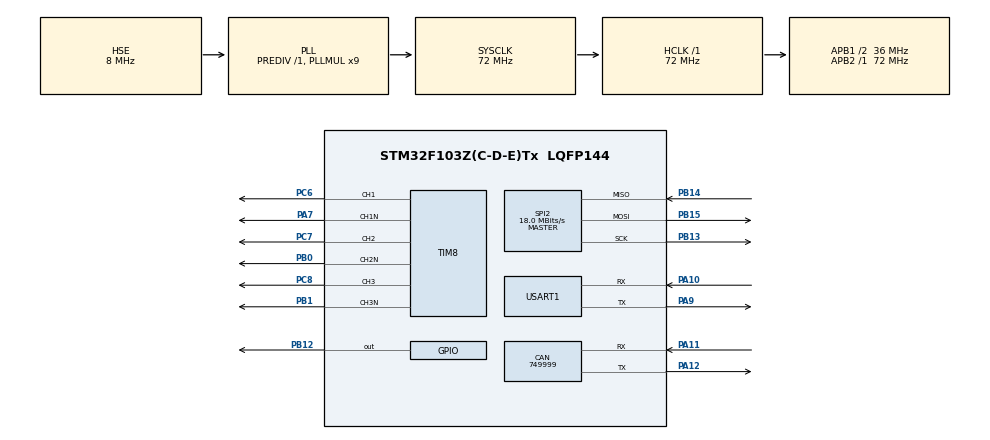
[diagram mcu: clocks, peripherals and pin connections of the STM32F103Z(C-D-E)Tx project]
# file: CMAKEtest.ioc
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CAN.CalculateBaudRate=749999
CAN.CalculateTimeBit=1333
CAN.CalculateTimeQuantum=444.44444444444446
Dma.Request0=USART1_RX
Dma.Request1=USART1_TX
Dma.USART1_RX.0.Direction=DMA_PERIPH_TO_MEMORY
Dma.USART1_RX.0.Instance=DMA1_Channel5
Dma.USART1_RX.0.MemDataAlignment=DMA_MDATAALIGN_BYTE
Dma.USART1_RX.0.MemInc=DMA_MINC_ENABLE
Dma.USART1_RX.0.Mode=DMA_NORMAL
Dma.USART1_RX.0.PeriphDataAlignment=DMA_PDATAALIGN_BYTE
Dma.USART1_RX.0.PeriphInc=DMA_PINC_DISABLE
Dma.USART1_RX.0.Priority=DMA_PRIORITY_LOW
Dma.USART1_TX.1.Direction=DMA_MEMORY_TO_PERIPH
Dma.USART1_TX.1.Instance=DMA1_Channel4
Dma.USART1_TX.1.MemDataAlignment=DMA_MDATAALIGN_BYTE
Dma.USART1_TX.1.MemInc=DMA_MINC_ENABLE
Dma.USART1_TX.1.Mode=DMA_NORMAL
Dma.USART1_TX.1.PeriphDataAlignment=DMA_PDATAALIGN_BYTE
Dma.USART1_TX.1.PeriphInc=DMA_PINC_DISABLE
Dma.USART1_TX.1.Priority=DMA_PRIORITY_LOW
FREERTOS.Tasks01=defaultTask,0,128,StartDefaultTask,Default,NULL,Dynamic,NULL,NULL
Mcu.Family=STM32F1
Mcu.Name=STM32F103Z(C-D-E)Tx
Mcu.Package=LQFP144
NVIC.DMA1_Channel4_IRQn=true\:5\:0\:false\:false\:true\:true\:false\:true\:true
NVIC.DMA1_Channel5_IRQn=true\:5\:0\:false\:false\:true\:true\:false\:true\:true
NVIC.PriorityGroup=NVIC_PRIORITYGROUP_4
NVIC.USART1_IRQn=true\:5\:0\:false\:false\:true\:true\:true\:true\:true
OSC_IN.Mode=HSE-External-Oscillator
OSC_IN.Signal=RCC_OSC_IN
OSC_OUT.Mode=HSE-External-Oscillator
OSC_OUT.Signal=RCC_OSC_OUT
PA10.Mode=Asynchronous
PA10.Signal=USART1_RX
PA11.Mode=CAN_Activate
PA11.Signal=CAN_RX
PA12.Mode=CAN_Activate
PA12.Signal=CAN_TX
PA7.Mode=PWM Generation1 CH1 CH1N
PA7.Signal=TIM8_CH1N
PA9.Mode=Asynchronous
PA9.Signal=USART1_TX
PB0.Mode=PWM Generation2 CH2 CH2N
PB0.Signal=TIM8_CH2N
PB1.Mode=PWM Generation3 CH3 CH3N
PB1.Signal=TIM8_CH3N
PB12.Signal=GPIO_Output
PB13.Mode=Full_Duplex_Master
PB13.Signal=SPI2_SCK
PB14.Mode=Full_Duplex_Master
PB14.Signal=SPI2_MISO
PB15.Mode=Full_Duplex_Master
PB15.Signal=SPI2_MOSI
PC6.Signal=S_TIM8_CH1
PC7.Signal=S_TIM8_CH2
PC8.Signal=S_TIM8_CH3
ProjectManager.HeapSize=0x200
ProjectManager.StackSize=0x400
ProjectManager.TargetToolchain=CMake
RCC.AHBFreq_Value=72000000
RCC.APB1CLKDivider=RCC_HCLK_DIV2
RCC.APB1Freq_Value=36000000
RCC.APB1TimFreq_Value=72000000
RCC.APB2Freq_Value=72000000
RCC.APB2TimFreq_Value=72000000
RCC.HCLKFreq_Value=72000000
RCC.PLLMUL=RCC_PLL_MUL9
RCC.PLLSourceVirtual=RCC_PLLSOURCE_HSE
RCC.SYSCLKFreq_VALUE=72000000
RCC.SYSCLKSource=RCC_SYSCLKSOURCE_PLLCLK
RCC.USBFreq_Value=72000000
SH.S_TIM8_CH1.0=TIM8_CH1,PWM Generation1 CH1 CH1N
SH.S_TIM8_CH2.0=TIM8_CH2,PWM Generation2 CH2 CH2N
SH.S_TIM8_CH3.0=TIM8_CH3,PWM Generation3 CH3 CH3N
SPI2.CLKPhase=SPI_PHASE_2EDGE
SPI2.CLKPolarity=SPI_POLARITY_HIGH
SPI2.CalculateBaudRate=18.0 MBits/s
SPI2.Direction=SPI_DIRECTION_2LINES
SPI2.Mode=SPI_MODE_MASTER
SPI2.VirtualType=VM_MASTER
TIM8.Channel-PWM\ Generation1\ CH1\ CH1N=TIM_CHANNEL_1
TIM8.Channel-PWM\ Generation2\ CH2\ CH2N=TIM_CHANNEL_2
TIM8.Channel-PWM\ Generation3\ CH3\ CH3N=TIM_CHANNEL_3
USART1.VirtualMode=VM_ASYNC
VP_FREERTOS_VS_CMSIS_V1.Mode=CMSIS_V1
VP_SYS_VS_ND.Mode=No_Debug
VP_TIM8_VS_ClockSourceINT.Mode=Internal
board=custom

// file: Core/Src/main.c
/* USER CODE BEGIN Header */
/**
  ******************************************************************************
  * @file           : main.c
  * @brief          : 主程序体
  ******************************************************************************
  * @attention
  *
  * Copyright (c) 2026 STMicroelectronics.
  * All rights reserved.
  *
  * This software is licensed under terms that can be found in the LICENSE file
  * in the root directory of this software component.
  * If no LICENSE file comes with this software, it is provided AS-IS.
  *
  ******************************************************************************
  */
/* USER CODE END Header */
#include "main.h"
#include "cmsis_os.h"

/* USER CODE BEGIN Includes */
#include "at_server.h"
#include "at_server_port.h"
#include "foc_openloop.h"
#include "foc_port.h"

/* USER CODE END Includes */

/* USER CODE BEGIN PD */
/* 72 MHz 定时器时钟下，3599 对应约 20 kHz PWM 频率。 */
#define FOC_PWM_PERIOD_TICKS      3599U
/* 72 个计数约为 1 us，用作首版互补输出死区时间。 */
#define FOC_PWM_DEADTIME_TICKS    72U

/* USER CODE END PD */

CAN_HandleTypeDef hcan;

SPI_HandleTypeDef hspi2;

TIM_HandleTypeDef htim8;

UART_HandleTypeDef huart1;
DMA_HandleTypeDef hdma_usart1_rx;
DMA_HandleTypeDef hdma_usart1_tx;

osThreadId defaultTaskHandle;
osThreadId focOpenLoopTaskHandle;
/* USER CODE BEGIN PV */
static FOC_Port_Config g_foc_port_config = {
    .timer = &htim8,
    .channel_u = TIM_CHANNEL_1,
    .channel_v = TIM_CHANNEL_2,
    .channel_w = TIM_CHANNEL_3,
};

/* USER CODE END PV */

void SystemClock_Config(void);
static void MX_GPIO_Init(void);
static void MX_DMA_Init(void);
static void MX_SPI2_Init(void);
static void MX_USART1_UART_Init(void);
static void MX_CAN_Init(void);
static void MX_TIM8_Init(void);
void StartDefaultTask(void const * argument);

int main(void)
{

  /* MCU Configuration--------------------------------------------------------*/

  /* Reset of all peripherals, Initializes the Flash interface and the Systick. */
  HAL_Init();

  /* Configure the system clock */
  SystemClock_Config();

  /* Initialize all configured peripherals */
  MX_GPIO_Init();
  MX_DMA_Init();
  MX_SPI2_Init();
  MX_USART1_UART_Init();
  MX_CAN_Init();
  MX_TIM8_Init();
  /* USER CODE BEGIN 2 */
  /* 上电只初始化 FOC 端口层与开环控制层，不自动启动 PWM 输出。 */
  if (FOC_Port_Init(&g_foc_port_config) != APP_STATUS_OK)
  {
    Error_Handler();
  }
  if (FOC_OpenLoop_Init() != APP_STATUS_OK)
  {
    Error_Handler();
  }

  if (AT_Server_Port_Init(&huart1) != APP_STATUS_OK)
  {
    Error_Handler();
  }
  if (AT_Server_Init(AT_Server_Port_GetConfig()) != APP_STATUS_OK)
  {
    Error_Handler();
  }

  /* USER CODE END 2 */

  /* USER CODE BEGIN RTOS_MUTEX */
  /* 可在此添加互斥量等 */
  /* USER CODE END RTOS_MUTEX */

  /* USER CODE BEGIN RTOS_SEMAPHORES */
  /* 可在此添加信号量等 */
  /* USER CODE END RTOS_SEMAPHORES */

  /* USER CODE BEGIN RTOS_TIMERS */
  /* 可在此启动或添加定时器等 */
  /* USER CODE END RTOS_TIMERS */

  /* USER CODE BEGIN RTOS_QUEUES */
  /* 可在此添加队列等 */
  /* USER CODE END RTOS_QUEUES */

  /* Create the thread(s) */
  /* definition and creation of defaultTask */
  osThreadDef(defaultTask, StartDefaultTask, osPriorityNormal, 0, 128);
  defaultTaskHandle = osThreadCreate(osThread(defaultTask), NULL);
  osThreadDef(focOpenLoopTask, FOC_OpenLoop_Task, osPriorityAboveNormal, 0, 256);
  focOpenLoopTaskHandle = osThreadCreate(osThread(focOpenLoopTask), NULL);
  if (focOpenLoopTaskHandle == NULL)
  {
    Error_Handler();
  }

  /* USER CODE BEGIN RTOS_THREADS */
  /* 可在此添加其他线程等 */
  /* USER CODE END RTOS_THREADS */

  /* Start scheduler */
  osKernelStart();

  /* We should never get here as control is now taken by the scheduler */

  /* Infinite loop */
  while (1)
  {

  }
}

void SystemClock_Config(void)
{
  RCC_OscInitTypeDef RCC_OscInitStruct = {0};
  RCC_ClkInitTypeDef RCC_ClkInitStruct = {0};

  /** Initializes the RCC Oscillators according to the specified parameters
  * in the RCC_OscInitTypeDef structure.
  */
  RCC_OscInitStruct.OscillatorType = RCC_OSCILLATORTYPE_HSE;
  RCC_OscInitStruct.HSEState = RCC_HSE_ON;
  RCC_OscInitStruct.HSEPredivValue = RCC_HSE_PREDIV_DIV1;
  RCC_OscInitStruct.HSIState = RCC_HSI_ON;
  RCC_OscInitStruct.PLL.PLLState = RCC_PLL_ON;
  RCC_OscInitStruct.PLL.PLLSource = RCC_PLLSOURCE_HSE;
  RCC_OscInitStruct.PLL.PLLMUL = RCC_PLL_MUL9;
  if (HAL_RCC_OscConfig(&RCC_OscInitStruct) != HAL_OK)
  {
    Error_Handler();
  }

  /** Initializes the CPU, AHB and APB buses clocks
  */
  RCC_ClkInitStruct.ClockType = RCC_CLOCKTYPE_HCLK|RCC_CLOCKTYPE_SYSCLK
                              |RCC_CLOCKTYPE_PCLK1|RCC_CLOCKTYPE_PCLK2;
  RCC_ClkInitStruct.SYSCLKSource = RCC_SYSCLKSOURCE_PLLCLK;
  RCC_ClkInitStruct.AHBCLKDivider = RCC_SYSCLK_DIV1;
  RCC_ClkInitStruct.APB1CLKDivider = RCC_HCLK_DIV2;
  RCC_ClkInitStruct.APB2CLKDivider = RCC_HCLK_DIV1;

  if (HAL_RCC_ClockConfig(&RCC_ClkInitStruct, FLASH_LATENCY_2) != HAL_OK)
  {
    Error_Handler();
  }
}

static void MX_CAN_Init(void)
{

  hcan.Instance = CAN1;
  hcan.Init.Prescaler = 16;
  hcan.Init.Mode = CAN_MODE_NORMAL;
  hcan.Init.SyncJumpWidth = CAN_SJW_1TQ;
  hcan.Init.TimeSeg1 = CAN_BS1_1TQ;
  hcan.Init.TimeSeg2 = CAN_BS2_1TQ;
  hcan.Init.TimeTriggeredMode = DISABLE;
  hcan.Init.AutoBusOff = DISABLE;
  hcan.Init.AutoWakeUp = DISABLE;
  hcan.Init.AutoRetransmission = DISABLE;
  hcan.Init.ReceiveFifoLocked = DISABLE;
  hcan.Init.TransmitFifoPriority = DISABLE;
  if (HAL_CAN_Init(&hcan) != HAL_OK)
  {
    Error_Handler();
  }

}

static void MX_SPI2_Init(void)
{

  /* SPI2 parameter configuration*/
  hspi2.Instance = SPI2;
  hspi2.Init.Mode = SPI_MODE_MASTER;
  hspi2.Init.Direction = SPI_DIRECTION_2LINES;
  hspi2.Init.DataSize = SPI_DATASIZE_8BIT;
  hspi2.Init.CLKPolarity = SPI_POLARITY_HIGH;
  hspi2.Init.CLKPhase = SPI_PHASE_2EDGE;
  hspi2.Init.NSS = SPI_NSS_SOFT;
  hspi2.Init.BaudRatePrescaler = SPI_BAUDRATEPRESCALER_2;
  hspi2.Init.FirstBit = SPI_FIRSTBIT_MSB;
  hspi2.Init.TIMode = SPI_TIMODE_DISABLE;
  hspi2.Init.CRCCalculation = SPI_CRCCALCULATION_DISABLE;
  hspi2.Init.CRCPolynomial = 10;
  if (HAL_SPI_Init(&hspi2) != HAL_OK)
  {
    Error_Handler();
  }

}

static void MX_TIM8_Init(void)
{

  TIM_ClockConfigTypeDef sClockSourceConfig = {0};
  TIM_MasterConfigTypeDef sMasterConfig = {0};
  TIM_OC_InitTypeDef sConfigOC = {0};
  TIM_BreakDeadTimeConfigTypeDef sBreakDeadTimeConfig = {0};

  htim8.Instance = TIM8;
  htim8.Init.Prescaler = 0;
  htim8.Init.CounterMode = TIM_COUNTERMODE_UP;
  htim8.Init.Period = 65535;
  htim8.Init.ClockDivision = TIM_CLOCKDIVISION_DIV1;
  htim8.Init.RepetitionCounter = 0;
  htim8.Init.AutoReloadPreload = TIM_AUTORELOAD_PRELOAD_DISABLE;
  if (HAL_TIM_Base_Init(&htim8) != HAL_OK)
  {
    Error_Handler();
  }
  sClockSourceConfig.ClockSource = TIM_CLOCKSOURCE_INTERNAL;
  if (HAL_TIM_ConfigClockSource(&htim8, &sClockSourceConfig) != HAL_OK)
  {
    Error_Handler();
  }
  if (HAL_TIM_PWM_Init(&htim8) != HAL_OK)
  {
    Error_Handler();
  }
  sMasterConfig.MasterOutputTrigger = TIM_TRGO_RESET;
  sMasterConfig.MasterSlaveMode = TIM_MASTERSLAVEMODE_DISABLE;
  if (HAL_TIMEx_MasterConfigSynchronization(&htim8, &sMasterConfig) != HAL_OK)
  {
    Error_Handler();
  }
  sConfigOC.OCMode = TIM_OCMODE_PWM1;
  sConfigOC.Pulse = 0;
  sConfigOC.OCPolarity = TIM_OCPOLARITY_HIGH;
  sConfigOC.OCNPolarity = TIM_OCNPOLARITY_HIGH;
  sConfigOC.OCFastMode = TIM_OCFAST_DISABLE;
  sConfigOC.OCIdleState = TIM_OCIDLESTATE_RESET;
  sConfigOC.OCNIdleState = TIM_OCNIDLESTATE_RESET;
  if (HAL_TIM_PWM_ConfigChannel(&htim8, &sConfigOC, TIM_CHANNEL_1) != HAL_OK)
  {
    Error_Handler();
  }
  if (HAL_TIM_PWM_ConfigChannel(&htim8, &sConfigOC, TIM_CHANNEL_2) != HAL_OK)
  {
    Error_Handler();
  }
  if (HAL_TIM_PWM_ConfigChannel(&htim8, &sConfigOC, TIM_CHANNEL_3) != HAL_OK)
  {
    Error_Handler();
  }
  sBreakDeadTimeConfig.OffStateRunMode = TIM_OSSR_DISABLE;
  sBreakDeadTimeConfig.OffStateIDLEMode = TIM_OSSI_DISABLE;
  sBreakDeadTimeConfig.LockLevel = TIM_LOCKLEVEL_OFF;
  sBreakDeadTimeConfig.DeadTime = 0;
  sBreakDeadTimeConfig.BreakState = TIM_BREAK_DISABLE;
  sBreakDeadTimeConfig.BreakPolarity = TIM_BREAKPOLARITY_HIGH;
  sBreakDeadTimeConfig.AutomaticOutput = TIM_AUTOMATICOUTPUT_DISABLE;
  if (HAL_TIMEx_ConfigBreakDeadTime(&htim8, &sBreakDeadTimeConfig) != HAL_OK)
  {
    Error_Handler();
  }
  /* USER CODE BEGIN TIM8_Init 2 */
  /* 将首版 FOC 输出频率覆盖到 20 kHz，便于后续直接按 CCR 改占空比。 */
  htim8.Init.Period = FOC_PWM_PERIOD_TICKS;
  __HAL_TIM_SET_AUTORELOAD(&htim8, FOC_PWM_PERIOD_TICKS);
  __HAL_TIM_SET_COUNTER(&htim8, 0U);

  /* 首版先给一组固定死区，避免互补输出完全无保护。 */
  sBreakDeadTimeConfig.DeadTime = FOC_PWM_DEADTIME_TICKS;
  if (HAL_TIMEx_ConfigBreakDeadTime(&htim8, &sBreakDeadTimeConfig) != HAL_OK)
  {
    Error_Handler();
  }

  /* USER CODE END TIM8_Init 2 */
  HAL_TIM_MspPostInit(&htim8);

}

static void MX_USART1_UART_Init(void)
{

  huart1.Instance = USART1;
  huart1.Init.BaudRate = 115200;
  huart1.Init.WordLength = UART_WORDLENGTH_8B;
  huart1.Init.StopBits = UART_STOPBITS_1;
  huart1.Init.Parity = UART_PARITY_NONE;
  huart1.Init.Mode = UART_MODE_TX_RX;
  huart1.Init.HwFlowCtl = UART_HWCONTROL_NONE;
  huart1.Init.OverSampling = UART_OVERSAMPLING_16;
  if (HAL_UART_Init(&huart1) != HAL_OK)
  {
    Error_Handler();
  }

}

static void MX_DMA_Init(void)
{

  /* DMA controller clock enable */
  __HAL_RCC_DMA1_CLK_ENABLE();

  /* DMA interrupt init */
  /* DMA1_Channel4_IRQn interrupt configuration */
  HAL_NVIC_SetPriority(DMA1_Channel4_IRQn, 5, 0);
  HAL_NVIC_EnableIRQ(DMA1_Channel4_IRQn);
  /* DMA1_Channel5_IRQn interrupt configuration */
  HAL_NVIC_SetPriority(DMA1_Channel5_IRQn, 5, 0);
  HAL_NVIC_EnableIRQ(DMA1_Channel5_IRQn);

}

static void MX_GPIO_Init(void)
{
  GPIO_InitTypeDef GPIO_InitStruct = {0};

  /* GPIO Ports Clock Enable */
  __HAL_RCC_GPIOA_CLK_ENABLE();
  __HAL_RCC_GPIOB_CLK_ENABLE();
  __HAL_RCC_GPIOC_CLK_ENABLE();

  /*Configure GPIO pin Output Level */
  HAL_GPIO_WritePin(GPIOB, GPIO_PIN_12, GPIO_PIN_RESET);

  /*Configure GPIO pin : PB12 */
  GPIO_InitStruct.Pin = GPIO_PIN_12;
  GPIO_InitStruct.Mode = GPIO_MODE_OUTPUT_PP;
  GPIO_InitStruct.Pull = GPIO_NOPULL;
  GPIO_InitStruct.Speed = GPIO_SPEED_FREQ_LOW;
  HAL_GPIO_Init(GPIOB, &GPIO_InitStruct);

}

void StartDefaultTask(void const * argument)
{
  /* USER CODE BEGIN 5 */
  (void)argument;
  /* 死循环 */
  for(;;)
  {
    /* 轮询处理环形缓冲区中的 AT 数据 */
    AT_Server_Poll();
    osDelay(1);
  }
  /* USER CODE END 5 */
}

void Error_Handler(void)
{
  /* USER CODE BEGIN Error_Handler_Debug */
  /* 用户可在此添加自己的实现，用于上报 HAL 错误返回状态 */
  __disable_irq();
  while (1)
  {
  }
  /* USER CODE END Error_Handler_Debug */
}
#ifdef USE_FULL_ASSERT
/**
  * @brief  Reports the name of the source file and the source line number
  *         where the assert_param error has occurred.
  * @param  file: pointer to the source file name
  * @param  line: assert_param error line source number
  * @retval None
  */
void assert_failed(uint8_t *file, uint32_t line)
{
  /* USER CODE BEGIN 6 */
  /* 用户可在此添加自己的实现，用于输出文件名和行号，
     例如：printf("参数错误：文件 %s，第 %d 行\r\n", file, line) */
  /* USER CODE END 6 */
}
#endif /* USE_FULL_ASSERT */
